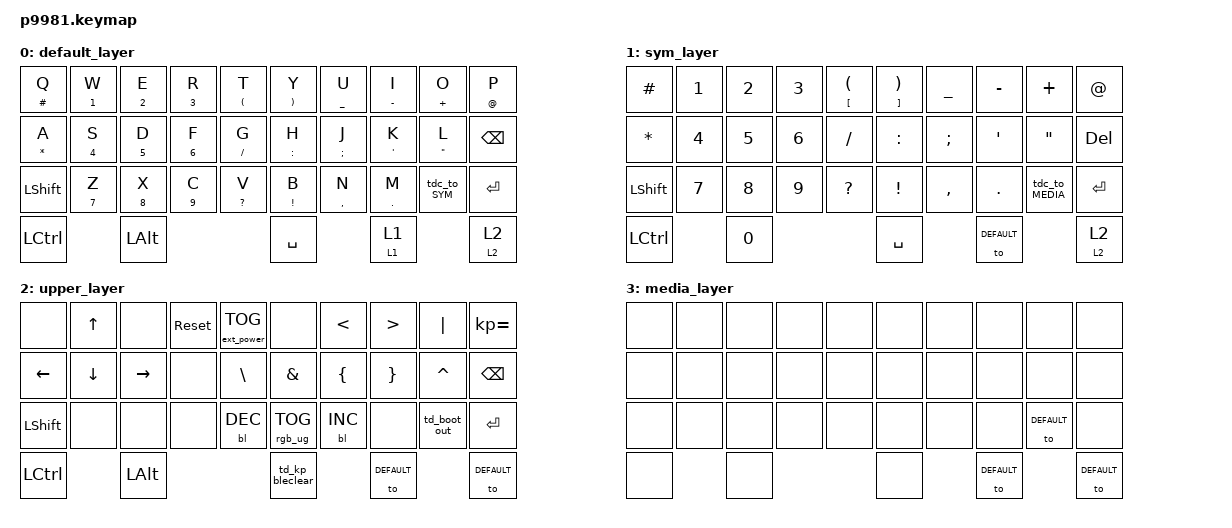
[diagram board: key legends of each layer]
/*
 * Copyright (c) 2025 ZitaoTech
 *
 * SPDX-License-Identifier: MIT
 */

#include <behaviors.dtsi>
#include <dt-bindings/zmk/keys.h>
#include <dt-bindings/zmk/bt.h>
#include <dt-bindings/zmk/outputs.h>
#include <dt-bindings/zmk/mouse.h>
#include <dt-bindings/zmk/backlight.h>
#include <dt-bindings/zmk/ext_power.h>
#include <dt-bindings/zmk/rgb.h>


#define DEFAULT 0
#define SYM 1
#define UPPER 2
#define MEDIA 3

#define SL_MO(layer) &sl_mo layer layer //tap -> sticky layer, hold -> momentary layer


&sl {
    release-after-ms = <3000>;
    };

/ {
    behaviors {
        td0: tap_dance_0 {
            compatible = "zmk,behavior-tap-dance";
            #binding-cells = <0>;
            tapping-term-ms = <400>;
            bindings = <&mkp LCLK>, <&bt BT_CLR>;
        };
    };

    behaviors {
        td_boot_out: td_boot_out {
            compatible = "zmk,behavior-tap-dance";
            #binding-cells = <0>;
            tapping-term-ms = <400>;            
            bindings = <&bootloader>, <&out OUT_TOG>;
            // Tap → &bootloader
            // Double tap → &out OUT_TOG
        };
    };

        behaviors {
        tdc_to_SYM: td_comma_to_layer {
            compatible = "zmk,behavior-tap-dance";
            #binding-cells = <0>;
            tapping-term-ms = <400>;
            bindings = <&kp SEMI>, <&to SYM>;
            // Tap → &kp SEMI
            // Double tap → &to SYM
        };
    };

    behaviors {
        tdc_to_MEDIA: td_mute_to_layer {
            compatible = "zmk,behavior-tap-dance";
            #binding-cells = <0>;
            tapping-term-ms = <400>;
            bindings = <&kp C_MUTE>, <&to MEDIA>;
            // Tap → &kp C_MUTE
            // Double tap → &to MEDIA
        };
    };

    behaviors {
        td_kp_bleclear: td_kp_bleclear {
            compatible = "zmk,behavior-tap-dance";
            #binding-cells = <0>;
            tapping-term-ms = <400>;            
            bindings = <&kp SPACE>, <&bt BT_CLR>;
            // Tap → &kp space
            // Double tap → &bt BT_CLEAR
        };
    };

    behaviors {
        hm: homerow_mods {
            compatible = "zmk,behavior-hold-tap";
            #binding-cells = <2>;
            tapping-term-ms = <400>;
            bindings = <&kp &kp>;
        };
    };
    
    behaviors {
    sl_mo: behavior_sl_mo {
        compatible = "zmk,behavior-hold-tap";
        #binding-cells = <2>;
        flavor = "hold-preferred";      
        tapping-term-ms = <450>;       
        bindings = <&mo &sl>;       
            // Tap → &sticky layer
            // Double tap → &momentary layer  
        };
    };
    behaviors {
        bhm: balanced_homerow_mods {
            compatible = "zmk,behavior-hold-tap";
            #binding-cells = <2>;
            flavor = "balanced";
            tapping-term-ms = <400>;
            bindings = <&kp>, <&kp>;
        };
    };

    keymap {
        compatible = "zmk,keymap";

        default_layer {

            bindings = <
//         --------------------------------------------------------------------------------------------------------------------------         
// |     Q      |     W    |     E    |     R    |      T      |       Y        |       U        |        I        |       O      |      P        |     
// |     A      |     S    |     D    |     F    |      G      |       H        |       J        |        K        |       L      |      ←        |  
// |     alt    |     Z    |     X    |     C    |      V      |       B        |       N        |        M        |       $      |    Enter      |   
//        |         aA     |         0           |           SPACE              |         SYM         |        aA          |       
//        -----------------------------------------------------------------------------------------------------------------

    &bhm HASH Q  &bhm N1 W  &bhm N2 E  &bhm N3 R  &bhm LPAR T   &bhm RPAR Y        &bhm UNDER U    &bhm MINUS I        &bhm PLUS O   &bhm AT P
    &bhm STAR A  &bhm N4 S  &bhm N5 D  &bhm N6 F  &bhm SLASH G  &bhm COLON H       &bhm SEMI J     &bhm APOS K         &bhm DQT L    &kp BSPC
    &kp LSHFT    &bhm N7 Z  &bhm N8 X  &bhm N9 C  &bhm QMARK V  &bhm EXCL B        &bhm COMMA N    &bhm DOT M         &tdc_to_SYM    &kp ENTER
    &kp LCTRL               &kp LALT                            &kp SPACE                          &sl_mo 1 1                        &sl_mo 2 2
            >;
        };


        sym_layer {

            bindings = <        
    &kp HASH     &kp N1     &kp N2      &kp N3    &mt LBKT LPAR &mt RBKT RPAR     &kp UNDER        &kp MINUS        &kp PLUS         &kp AT
    &kp STAR     &kp N4     &kp N5      &kp N6    &kp SLASH     &kp COLON         &kp SEMI         &kp APOS         &kp DQT          &kp DEL
    &kp LSHFT    &kp N7     &kp N8      &kp N9    &kp QMARK     &kp EXCL          &kp COMMA        &kp DOT          &tdc_to_MEDIA    &kp ENTER
    &kp LCTRL               &kp N0                              &kp SPACE                          &to DEFAULT                       &sl_mo 2 2
            >;
        };

        upper_layer {

            bindings = <
    &none        &kp UP     &none       &sys_reset &ext_power EP_TOG &none            &kp LT           &kp GT          &kp PIPE         &kp KP_EQUAL
    &kp LEFT     &kp DOWN   &kp RIGHT   &none      &kp BSLH          &kp AMPS         &kp LBRC         &kp RBRC        &kp CARET        &kp BSPC
    &kp LSHFT    &none      &none       &none      &bl BL_DEC        &rgb_ug RGB_TOG  &bl BL_INC       &none           &td_boot_out     &kp ENTER
    &kp LCTRL               &kp LALT                                 &td_kp_bleclear                   &to DEFAULT                      &to DEFAULT
            >;
        };

        media_layer {

            bindings = <
    &none        &none     &none       &none      &none        &none         &none           &none           &none            &none
    &none        &none     &none       &none      &none        &none         &none           &none           &none            &none
    &none        &none     &none       &none      &none        &none         &none           &none           &to DEFAULT      &none
    &none                  &none                               &none                         &to DEFAULT                      &to DEFAULT
            >;
        };
    };
};
